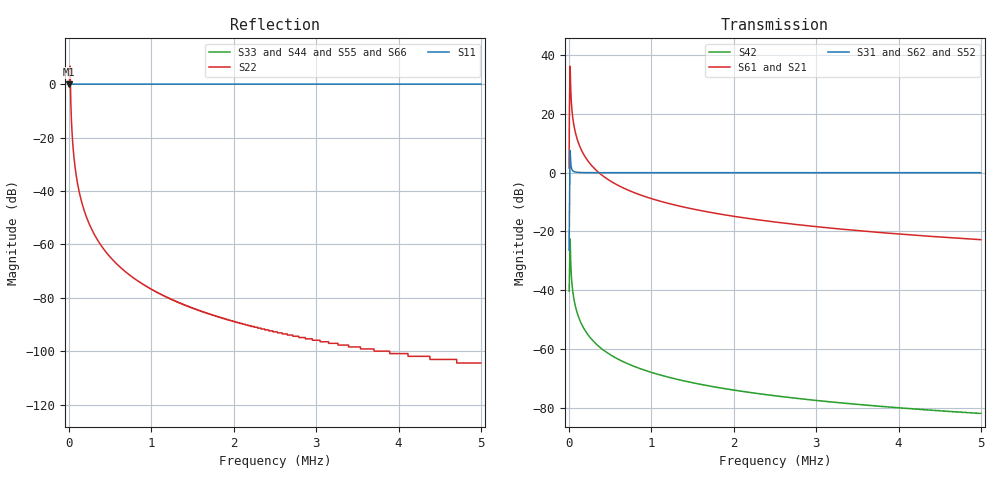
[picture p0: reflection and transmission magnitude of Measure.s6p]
# MHz MA S R 50.0
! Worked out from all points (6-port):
!   10000 points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, 500 Hz to 5 MHz, reference 50 ohm
!   strongest paths, dB at 500 Hz, 1.25 MHz, 2.501 MHz, 3.751 MHz, 5 MHz:
!     S31: -26.3, 0.0, 0.0, 0.0, 0.0
!     S62: -38.3, 0.0, 0.0, 0.0, 0.0
!     S52: -0.4, 0.0, 0.0, 0.0, 0.0
!     S61: 1.6, -10.8, -16.8, -20.3, -22.8
!     S21: 13.6, -10.8, -16.8, -20.3, -22.8
!     S42: -40.3, -70.0, -76.0, -79.5, -81.9
!   lowest |S11| = 0.0 dB at 500 Hz (marker M1)
!   |S11| at or under -10 dB: nowhere
